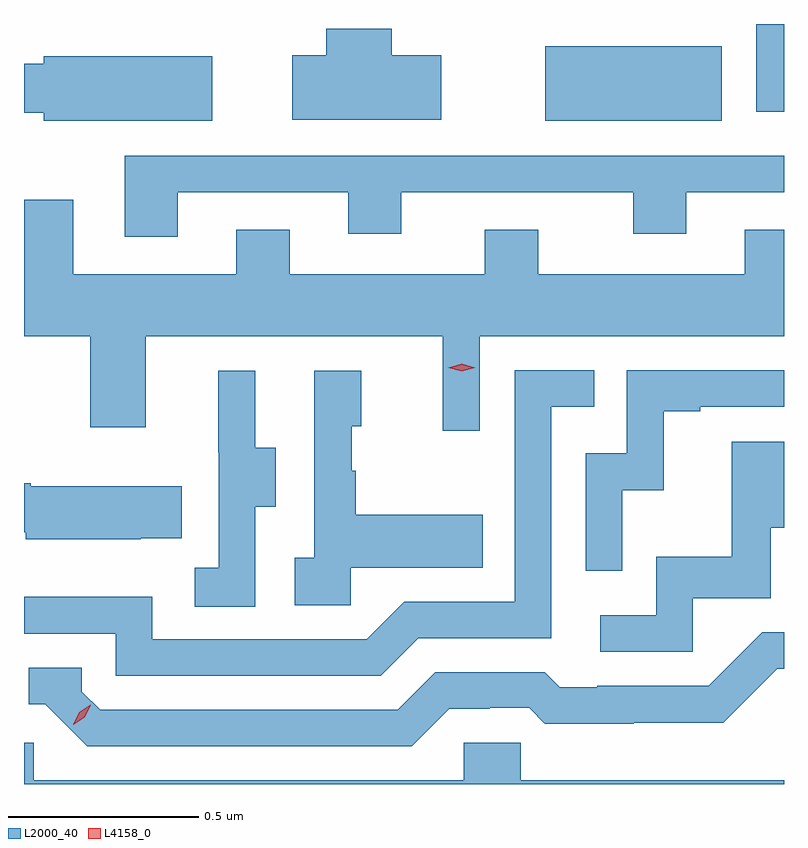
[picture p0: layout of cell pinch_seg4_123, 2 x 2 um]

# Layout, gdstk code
import gdstk
lib = gdstk.Library(unit=1e-6, precision=1e-09)
def R(c, l, rs):  # rectangles x0, y0, x1, y1
    for r in rs: c.add(gdstk.rectangle(r[:2], r[2:], *l))
def P(c, l, *ps):  # polygons
    for p in ps: c.add(gdstk.Polygon(p, *l))
L2000_40 = (2000, 40)
L4158_0 = (4158, 0)

pinch_seg4_123 = lib.new_cell('pinch_seg4_123')
R(pinch_seg4_123, L2000_40, [(1068.122,793.391,1068.586,793.588), (1068.677,793.415,1068.75,793.646)])
P(pinch_seg4_123, L2000_40, [(1067.848,793.564),(1067.718,793.564),(1067.718,793.633),(1067.545,793.633),(1067.545,793.564),(1067.456,793.564),(1067.456,793.394),(1067.848,793.394)],
  [(1067.245,793.561),(1066.802,793.561),(1066.802,793.541),(1066.75,793.541),(1066.75,793.413),(1066.802,793.413),(1066.802,793.391),(1067.245,793.391)],
  [(1067.155,793.203),(1067.603,793.203),(1067.603,793.094),(1067.743,793.094),(1067.743,793.203),(1068.353,793.203),(1068.353,793.094),(1068.493,793.094),(1068.493,793.203),(1068.75,793.203),(1068.75,793.299),(1067.015,793.299),(1067.015,793.086),(1067.155,793.086)],
  [(1067.949,792.824),(1068.75,792.824),(1068.75,793.105),(1068.647,793.105),(1068.647,792.988),(1068.103,792.988),(1068.103,793.105),(1067.963,793.105),(1067.963,792.988),(1067.449,792.988),(1067.449,793.105),(1067.309,793.105),(1067.309,792.988),(1066.879,792.988),(1066.879,793.183),(1066.75,793.183),(1066.75,792.824),(1066.924,792.824),(1066.924,792.585),(1067.071,792.585),(1067.071,792.824),(1067.852,792.824),(1067.852,792.576),(1067.949,792.576)],
  [(1067.788,792.03),(1068.138,792.03),(1068.138,792.639),(1068.251,792.639),(1068.251,792.735),(1068.042,792.735),(1068.042,792.126),(1067.751,792.126),(1067.652,792.027),(1067.088,792.027),(1067.088,792.139),(1066.75,792.139),(1066.75,792.042),(1066.992,792.042),(1066.992,791.931),(1067.689,791.931)],
  [(1068.324,792.419),(1068.434,792.419),(1068.434,792.627),(1068.529,792.627),(1068.529,792.639),(1068.75,792.639),(1068.75,792.735),(1068.336,792.735),(1068.336,792.516),(1068.228,792.516),(1068.228,792.207),(1068.324,792.207)],
  [(1067.61,792.215),(1067.957,792.215),(1067.957,792.355),(1067.623,792.355),(1067.623,792.47),(1067.613,792.47),(1067.613,792.588),(1067.638,792.588),(1067.638,792.733),(1067.514,792.733),(1067.514,792.242),(1067.463,792.242),(1067.463,792.117),(1067.61,792.117)],
  [(1067.358,792.376),(1067.413,792.376),(1067.413,792.531),(1067.359,792.531),(1067.359,792.733),(1067.261,792.733),(1067.261,792.519),(1067.262,792.519),(1067.262,792.215),(1067.199,792.215),(1067.199,792.112),(1067.358,792.112)],
  [(1068.51,792.135),(1068.715,792.135),(1068.715,792.321),(1068.75,792.321),(1068.75,792.547),(1068.613,792.547),(1068.613,792.244),(1068.414,792.244),(1068.414,792.09),(1068.267,792.09),(1068.267,791.994),(1068.51,791.994)],
  [(1067.057,792.293),(1067.165,792.293),(1067.165,792.43),(1066.768,792.43),(1066.768,792.438),(1066.75,792.438),(1066.75,792.308),(1066.755,792.308),(1066.755,792.29),(1067.057,792.29)],
  [(1067.869,791.844),(1067.976,791.844),(1067.976,791.847),(1068.079,791.847),(1068.121,791.805),(1068.354,791.805),(1068.354,791.807),(1068.59,791.807),(1068.732,791.949),(1068.75,791.949),(1068.75,792.045),(1068.693,792.045),(1068.552,791.904),(1068.259,791.904),(1068.259,791.901),(1068.16,791.901),(1068.121,791.94),(1067.832,791.94),(1067.733,791.841),(1066.95,791.841),(1066.902,791.889),(1066.902,791.952),(1066.763,791.952),(1066.763,791.856),(1066.806,791.856),(1066.917,791.745),(1067.77,791.745)],
  [(1068.75,791.656),(1068.057,791.656),(1068.057,791.754),(1067.907,791.754),(1067.907,791.656),(1066.776,791.656),(1066.776,791.754),(1066.75,791.754),(1066.75,791.646),(1068.75,791.646)])
P(pinch_seg4_123, L4158_0, [(1067.902,792.732),(1067.866,792.742),(1067.866,792.742),(1067.866,792.742),(1067.902,792.752),(1067.937,792.742),(1067.938,792.741),(1067.937,792.741)],
  [(1066.879,791.802),(1066.879,791.803),(1066.895,791.835),(1066.926,791.855),(1066.926,791.855),(1066.926,791.855),(1066.91,791.822),(1066.88,791.802)])

lib.write_gds('pinch_seg4_123.gds')
